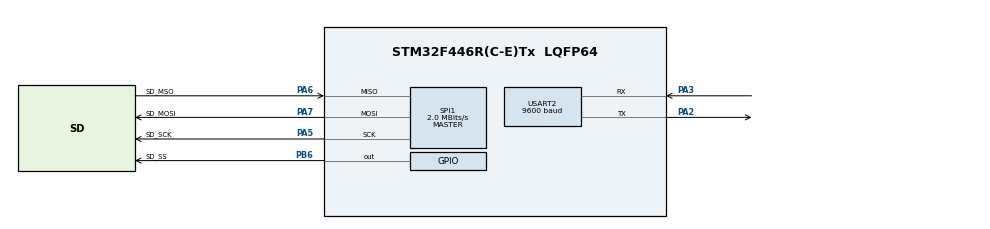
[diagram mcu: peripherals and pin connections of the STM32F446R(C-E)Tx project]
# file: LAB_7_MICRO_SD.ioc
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Dma.Request0=USART2_TX
Dma.Request1=USART2_RX
Dma.USART2_RX.1.Direction=DMA_PERIPH_TO_MEMORY
Dma.USART2_RX.1.FIFOMode=DMA_FIFOMODE_DISABLE
Dma.USART2_RX.1.Instance=DMA1_Stream5
Dma.USART2_RX.1.MemDataAlignment=DMA_MDATAALIGN_BYTE
Dma.USART2_RX.1.MemInc=DMA_MINC_ENABLE
Dma.USART2_RX.1.Mode=DMA_NORMAL
Dma.USART2_RX.1.PeriphDataAlignment=DMA_PDATAALIGN_BYTE
Dma.USART2_RX.1.PeriphInc=DMA_PINC_DISABLE
Dma.USART2_RX.1.Priority=DMA_PRIORITY_LOW
Dma.USART2_TX.0.Direction=DMA_MEMORY_TO_PERIPH
Dma.USART2_TX.0.FIFOMode=DMA_FIFOMODE_DISABLE
Dma.USART2_TX.0.Instance=DMA1_Stream6
Dma.USART2_TX.0.MemDataAlignment=DMA_MDATAALIGN_BYTE
Dma.USART2_TX.0.MemInc=DMA_MINC_ENABLE
Dma.USART2_TX.0.Mode=DMA_NORMAL
Dma.USART2_TX.0.PeriphDataAlignment=DMA_PDATAALIGN_BYTE
Dma.USART2_TX.0.PeriphInc=DMA_PINC_DISABLE
Dma.USART2_TX.0.Priority=DMA_PRIORITY_LOW
FATFS._MAX_SS=4096
FATFS._USE_LFN=1
Mcu.Family=STM32F4
Mcu.Name=STM32F446R(C-E)Tx
Mcu.Package=LQFP64
NVIC.DMA1_Stream5_IRQn=true\:0\:0\:false\:false\:true\:false\:true\:true
NVIC.DMA1_Stream6_IRQn=true\:0\:0\:false\:false\:true\:false\:true\:true
NVIC.PriorityGroup=NVIC_PRIORITYGROUP_4
NVIC.USART2_IRQn=true\:0\:0\:false\:false\:true\:true\:true\:true
PA13.Mode=Serial_Wire
PA13.Signal=SYS_JTMS-SWDIO
PA14.Mode=Serial_Wire
PA14.Signal=SYS_JTCK-SWCLK
PA2.Mode=Asynchronous
PA2.Signal=USART2_TX
PA3.Mode=Asynchronous
PA3.Signal=USART2_RX
PA5.GPIO_Label=SD_SCK
PA5.Mode=Full_Duplex_Master
PA5.Signal=SPI1_SCK
PA6.GPIO_Label=SD_MSO
PA6.Mode=Full_Duplex_Master
PA6.Signal=SPI1_MISO
PA7.GPIO_Label=SD_MOSI
PA7.Mode=Full_Duplex_Master
PA7.Signal=SPI1_MOSI
PB6.GPIO_Label=SD_SS
PB6.GPIO_Speed=GPIO_SPEED_FREQ_MEDIUM
PB6.PinState=GPIO_PIN_SET
PB6.Signal=GPIO_Output
PH0-OSC_IN.Mode=HSE-External-Oscillator
PH0-OSC_IN.Signal=RCC_OSC_IN
PH1-OSC_OUT.Mode=HSE-External-Oscillator
PH1-OSC_OUT.Signal=RCC_OSC_OUT
ProjectManager.HeapSize=0x200
ProjectManager.StackSize=0x400
ProjectManager.TargetToolchain=STM32CubeIDE
RCC.CortexFreq_Value=16000000
RCC.USBFreq_Value=96000000
RCC.VCOOutputFreq_Value=192000000
SPI1.BaudRatePrescaler=SPI_BAUDRATEPRESCALER_8
SPI1.CalculateBaudRate=2.0 MBits/s
SPI1.Direction=SPI_DIRECTION_2LINES
SPI1.Mode=SPI_MODE_MASTER
SPI1.VirtualType=VM_MASTER
USART2.BaudRate=9600
USART2.VirtualMode=VM_ASYNC
VP_FATFS_VS_Generic.Mode=User_defined
board=custom

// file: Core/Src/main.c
/* USER CODE BEGIN Header */
/**
  ******************************************************************************
  * @file           : main.c
  * @brief          : Main program body
  ******************************************************************************
  * @attention
  *
  * Copyright (c) 2024 STMicroelectronics.
  * All rights reserved.
  *
  * This software is licensed under terms that can be found in the LICENSE file
  * in the root directory of this software component.
  * If no LICENSE file comes with this software, it is provided AS-IS.
  *
  ******************************************************************************
  */
/* USER CODE END Header */
#include "main.h"
#include "fatfs.h"

/* USER CODE BEGIN Includes */
#include "fatfs_sd.h"
#include "string.h"
#include "stdio.h"
#include "stm32f4xx_hal.h"
/* USER CODE END Includes */

SPI_HandleTypeDef hspi1;

UART_HandleTypeDef huart2;
DMA_HandleTypeDef hdma_usart2_tx;
DMA_HandleTypeDef hdma_usart2_rx;

/* USER CODE BEGIN PV */
FATFS fs;
FATFS *pfs;
FIL fil;
FRESULT fres;
DWORD fre_clust;
FILINFO fno;
DIR dir;
uint32_t totalSpace, freeSpace;
//char buffer[100];

// Lectura de archivos .txt
char path[] = "0:/";
char buffer[256];

uint8_t rxData;//Recivir
uint8_t txData;//Enviar

char rxBuffer[100];// Buffer de uart
uint8_t rxIndex = 0;// index de uart

char File_txt[100];// Buffer de uart
uint8_t A; //Indicador que archivo mandar.
uint8_t saveToFileTxt = 0; // Bandera para indicar cuándo guardar en File_txt

uint8_t Bandera = 0;

/* USER CODE END PV */

void SystemClock_Config(void);
static void MX_GPIO_Init(void);
static void MX_DMA_Init(void);
static void MX_SPI1_Init(void);
static void MX_USART2_UART_Init(void);

int main(void)
{

  /* MCU Configuration--------------------------------------------------------*/

  /* Reset of all peripherals, Initializes the Flash interface and the Systick. */
  HAL_Init();

  /* Configure the system clock */
  SystemClock_Config();

  /* Initialize all configured peripherals */
  MX_GPIO_Init();
  MX_DMA_Init();
  MX_SPI1_Init();
  MX_FATFS_Init();
  MX_USART2_UART_Init();
  /* USER CODE BEGIN 2 */
  // Iniciar la recepción por DMA
  HAL_UART_Receive_DMA(&huart2, &rxData, 1);
  /* USER CODE END 2 */

  /* Infinite loop */
  /* USER CODE BEGIN WHILE */
  while (1)
  {

	  if (A == 1) {
		  read_files();
		  A = 0;
	  }
	  else if (A == 2){
		 read_and_send_file(File_txt);
		 Bandera = 0;
		 A = 0;
	  }

  }
    /* USER CODE END WHILE */

}

void SystemClock_Config(void)
{
  RCC_OscInitTypeDef RCC_OscInitStruct = {0};
  RCC_ClkInitTypeDef RCC_ClkInitStruct = {0};

  /** Configure the main internal regulator output voltage
  */
  __HAL_RCC_PWR_CLK_ENABLE();
  __HAL_PWR_VOLTAGESCALING_CONFIG(PWR_REGULATOR_VOLTAGE_SCALE3);

  /** Initializes the RCC Oscillators according to the specified parameters
  * in the RCC_OscInitTypeDef structure.
  */
  RCC_OscInitStruct.OscillatorType = RCC_OSCILLATORTYPE_HSI;
  RCC_OscInitStruct.HSIState = RCC_HSI_ON;
  RCC_OscInitStruct.HSICalibrationValue = RCC_HSICALIBRATION_DEFAULT;
  RCC_OscInitStruct.PLL.PLLState = RCC_PLL_NONE;
  if (HAL_RCC_OscConfig(&RCC_OscInitStruct) != HAL_OK)
  {
    Error_Handler();
  }

  /** Initializes the CPU, AHB and APB buses clocks
  */
  RCC_ClkInitStruct.ClockType = RCC_CLOCKTYPE_HCLK|RCC_CLOCKTYPE_SYSCLK
                              |RCC_CLOCKTYPE_PCLK1|RCC_CLOCKTYPE_PCLK2;
  RCC_ClkInitStruct.SYSCLKSource = RCC_SYSCLKSOURCE_HSI;
  RCC_ClkInitStruct.AHBCLKDivider = RCC_SYSCLK_DIV1;
  RCC_ClkInitStruct.APB1CLKDivider = RCC_HCLK_DIV1;
  RCC_ClkInitStruct.APB2CLKDivider = RCC_HCLK_DIV1;

  if (HAL_RCC_ClockConfig(&RCC_ClkInitStruct, FLASH_LATENCY_0) != HAL_OK)
  {
    Error_Handler();
  }
}

static void MX_SPI1_Init(void)
{

  /* SPI1 parameter configuration*/
  hspi1.Instance = SPI1;
  hspi1.Init.Mode = SPI_MODE_MASTER;
  hspi1.Init.Direction = SPI_DIRECTION_2LINES;
  hspi1.Init.DataSize = SPI_DATASIZE_8BIT;
  hspi1.Init.CLKPolarity = SPI_POLARITY_LOW;
  hspi1.Init.CLKPhase = SPI_PHASE_1EDGE;
  hspi1.Init.NSS = SPI_NSS_SOFT;
  hspi1.Init.BaudRatePrescaler = SPI_BAUDRATEPRESCALER_8;
  hspi1.Init.FirstBit = SPI_FIRSTBIT_MSB;
  hspi1.Init.TIMode = SPI_TIMODE_DISABLE;
  hspi1.Init.CRCCalculation = SPI_CRCCALCULATION_DISABLE;
  hspi1.Init.CRCPolynomial = 10;
  if (HAL_SPI_Init(&hspi1) != HAL_OK)
  {
    Error_Handler();
  }

}

static void MX_USART2_UART_Init(void)
{

  huart2.Instance = USART2;
  huart2.Init.BaudRate = 9600;
  huart2.Init.WordLength = UART_WORDLENGTH_8B;
  huart2.Init.StopBits = UART_STOPBITS_1;
  huart2.Init.Parity = UART_PARITY_NONE;
  huart2.Init.Mode = UART_MODE_TX_RX;
  huart2.Init.HwFlowCtl = UART_HWCONTROL_NONE;
  huart2.Init.OverSampling = UART_OVERSAMPLING_16;
  if (HAL_UART_Init(&huart2) != HAL_OK)
  {
    Error_Handler();
  }

}

static void MX_DMA_Init(void)
{

  /* DMA controller clock enable */
  __HAL_RCC_DMA1_CLK_ENABLE();

  /* DMA interrupt init */
  /* DMA1_Stream5_IRQn interrupt configuration */
  HAL_NVIC_SetPriority(DMA1_Stream5_IRQn, 0, 0);
  HAL_NVIC_EnableIRQ(DMA1_Stream5_IRQn);
  /* DMA1_Stream6_IRQn interrupt configuration */
  HAL_NVIC_SetPriority(DMA1_Stream6_IRQn, 0, 0);
  HAL_NVIC_EnableIRQ(DMA1_Stream6_IRQn);

}

static void MX_GPIO_Init(void)
{
  GPIO_InitTypeDef GPIO_InitStruct = {0};

  /* GPIO Ports Clock Enable */
  __HAL_RCC_GPIOH_CLK_ENABLE();
  __HAL_RCC_GPIOA_CLK_ENABLE();
  __HAL_RCC_GPIOB_CLK_ENABLE();

  /*Configure GPIO pin Output Level */
  HAL_GPIO_WritePin(SD_SS_GPIO_Port, SD_SS_Pin, GPIO_PIN_SET);

  /*Configure GPIO pin : SD_SS_Pin */
  GPIO_InitStruct.Pin = SD_SS_Pin;
  GPIO_InitStruct.Mode = GPIO_MODE_OUTPUT_PP;
  GPIO_InitStruct.Pull = GPIO_NOPULL;
  GPIO_InitStruct.Speed = GPIO_SPEED_FREQ_MEDIUM;
  HAL_GPIO_Init(SD_SS_GPIO_Port, &GPIO_InitStruct);

}

/* USER CODE BEGIN 4 */
// DMA UART

void HAL_UART_RxCpltCallback(UART_HandleTypeDef *huart)
{
    if (huart->Instance == USART2)
    {
        if (rxData != ',') // Suponiendo que '\n' es el delimitador
        {
            rxBuffer[rxIndex++] = rxData;
            if (rxIndex >= 100) // Evitar desbordamiento del buffer
            {
                rxIndex = 0;
            }
        }
        else
        {
            rxBuffer[rxIndex] = '\0'; // Terminar la cadena
            ///////////////////////////////////////////

            // Verificar el primer carácter del buffer
            if (rxBuffer[0] == '1') {
                A = 1;
            } else if (rxBuffer[0] == '2') {
            	strcpy(File_txt, rxBuffer + 1); // Copiar desde el segundo carácter
            	A = 2;
            }

            //////////////////////////////////////////
            rxIndex = 0; // Reiniciar el índice para la próxima palabra
        }

        // Reiniciar la recepción de un nuevo dato
        HAL_UART_Receive_DMA(&huart2, &rxData, 1);
    }
}

void transmit_uart(char *data)
{
    HAL_UART_Transmit(&huart2, (uint8_t *)data, strlen(data), HAL_MAX_DELAY);
}

void read_files(){
	if (f_mount(&fs, "", 1) == FR_OK) {
		// Abrir el directorio raíz
		fres = f_opendir(&dir, path);
		if (fres == FR_OK) {
			while (1) {
				fres = f_readdir(&dir, &fno); // Leer un archivo
				if (fres != FR_OK || fno.fname[0] == 0) break; // No más archivos
				if (strstr(fno.fname, ".txt")) { // Verificar si es un archivo .txt
					snprintf(buffer, sizeof(buffer), "%s\r;", fno.fname);
					transmit_uart(buffer);
				}
			}
			f_closedir(&dir);
		}
		f_mount(NULL, "", 1); // Desmontar el sistema de archivos
	}
}

void read_and_send_file(char *filename)
{
    fres = f_mount(&fs, "", 1);
    if (fres != FR_OK)
    {
        transmit_uart("Error al montar la tarjeta SD\n");
        return;
    }

    fres = f_open(&fil, filename, FA_READ);
    if (fres != FR_OK)
    {
        transmit_uart("Error al abrir el archivo\n");
        f_mount(NULL, "", 1);
        return;
    }

    while (f_gets(buffer, sizeof(buffer), &fil))
    {
    	transmit_uart(buffer);
    }
    transmit_uart("A");
    fres = f_close(&fil);
    if (fres != FR_OK)
    {
        transmit_uart("Error al cerrar el archivo\n");
    }

    f_mount(NULL, "", 1);
}

/* USER CODE END 4 */

void Error_Handler(void)
{
  __disable_irq();
  while (1)
  {
  }
}
